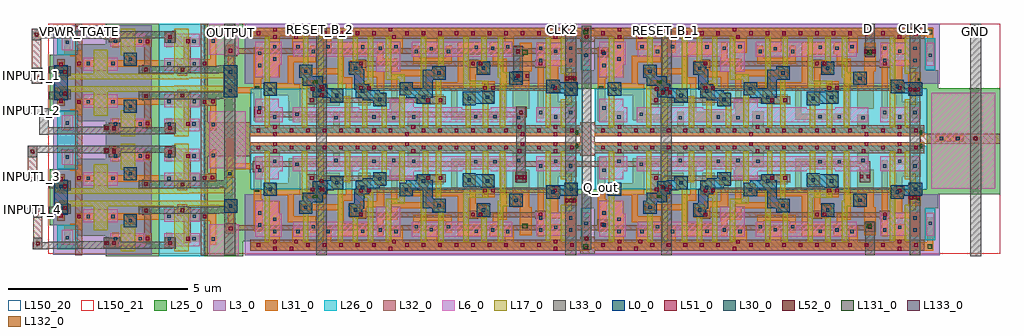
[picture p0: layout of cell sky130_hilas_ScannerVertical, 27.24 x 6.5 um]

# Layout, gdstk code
from math import pi, radians
import gdstk
lib = gdstk.Library(unit=1e-6, precision=1e-09)
def R(c, l, rs):  # rectangles x0, y0, x1, y1
    for r in rs: c.add(gdstk.rectangle(r[:2], r[2:], *l))
def A(c, l, x, y, w, h, nx, ny, dx, dy):  # array of equal rectangles
    R(c, l, [(x+i*dx, y+j*dy, x+i*dx+w, y+j*dy+h) for i in range(nx) for j in range(ny)])
L0_0 = (0, 0)
L3_0 = (3, 0)
L6_0 = (6, 0)
L17_0 = (17, 0)
L25_0 = (25, 0)
L26_0 = (26, 0)
L30_0 = (30, 0)
L31_0 = (31, 0)
L32_0 = (32, 0)
L33_0 = (33, 0)
L51_0 = (51, 0)
L52_0 = (52, 0)
L131_0 = (131, 0)
L132_0 = (132, 0)
L133_0 = (133, 0)
L150_20 = (150, 20)
L150_21 = (150, 21)

sky130_fd_sc_hd__dfrtp_1 = lib.new_cell('sky130_fd_sc_hd__dfrtp_1_fix')
R(sky130_fd_sc_hd__dfrtp_1, L0_0, [(5.405,0.685,5.775,0.855), (2.91,0.715,3.28,0.745), (2.4,0.745,3.28,1.085), (4.185,0.745,4.555,0.915), (6.605,0.795,6.975,0.915), (5.405,0.855,6.07,0.925), (4.11,0.915,4.85,0.985), (6.605,0.915,7.19,0.935), (5.405,0.925,6.255,1.055), (6.605,0.935,7.455,1.165), (0.06,0.975,0.43,1.05), (8.46,0.975,8.83,1.345), (4.11,0.985,5.035,1.185), (0.06,1.05,0.94,1.345), (5.59,1.055,6.255,1.125), (2.4,1.085,2.77,1.115), (5.885,1.125,6.255,1.14), (5.885,1.14,6.305,1.295), (6.87,1.165,7.455,1.185), (4.11,1.185,4.385,1.425), (4.665,1.185,5.035,1.355), (7.085,1.185,7.455,1.255), (7.085,1.255,7.74,1.305), (1.605,1.28,1.975,1.65), (6.03,1.295,6.305,1.555), (7.185,1.305,7.74,1.475), (0.57,1.345,0.94,1.42), (3.755,1.425,4.385,1.695), (7.185,1.475,7.84,1.525), (7.47,1.525,7.84,1.845), (2.51,1.555,2.88,1.925), (6.03,1.555,6.45,1.71), (3.755,1.695,4.125,1.795), (6.08,1.71,6.45,1.925)])
R(sky130_fd_sc_hd__dfrtp_1, L3_0, [(-0.435,1.305,9.365,2.91)])
R(sky130_fd_sc_hd__dfrtp_1, L6_0, [(0.135,0.235,1.225,0.655), (1.565,0.235,8.025,0.595), (8.295,0.235,9.065,0.655), (1.565,0.595,2.49,0.655), (3.285,0.595,5.315,0.655), (6.165,0.595,8.025,0.655), (4.645,0.655,5.315,0.875), (8.405,0.655,9.065,0.885), (8.405,1.485,9.065,1.845), (5.015,1.645,5.695,2.065), (-0.275,1.815,-0.06,2.455), (0.095,1.815,1.225,2.455), (8.325,1.845,9.065,2.485), (1.89,2.065,4.7,2.485), (5.015,2.065,8,2.485)])
R(sky130_fd_sc_hd__dfrtp_1, L17_0, [(0.395,0.095,0.545,0.73), (0.815,0.095,0.965,1.1), (2.09,0.095,2.24,1.3), (2.565,0.095,2.715,0.765), (3.045,0.095,3.195,0.765), (3.875,0.095,4.025,1.445), (4.235,0.095,4.385,0.765), (4.895,0.095,5.045,1.005), (5.39,0.095,5.54,0.705), (5.935,0.095,6.085,0.945), (6.415,0.095,6.565,0.815), (7.16,0.095,7.31,0.955), (7.615,0.095,7.765,1.495), (8.655,0.095,8.805,0.995), (5.39,0.705,5.725,1.035), (0.23,0.73,0.545,0.88), (2.45,0.765,2.72,1.095), (2.93,0.765,3.26,1.035), (4.235,0.765,4.505,1.095), (6.415,0.815,6.925,0.965), (0.23,0.88,0.38,0.995), (5.935,0.945,6.205,1.185), (7.135,0.955,7.405,1.285), (6.62,0.965,6.925,1.145), (0.11,0.995,0.38,1.325), (8.51,0.995,8.805,1.325), (4.715,1.005,5.045,1.335), (2.565,1.095,2.72,1.245), (4.29,1.095,4.44,2.625), (0.59,1.1,0.965,1.37), (6.62,1.145,6.77,2.625), (5.875,1.185,6.205,1.245), (2.565,1.245,3.255,1.395), (5.77,1.245,6.205,1.275), (5.77,1.275,6.085,1.335), (7.16,1.285,7.31,2.625), (1.655,1.3,2.24,1.48), (0.23,1.325,0.38,1.59), (8.655,1.325,8.805,2.625), (4.895,1.335,5.045,1.42), (5.77,1.335,6.02,1.395), (0.815,1.37,0.965,2.595), (3.105,1.395,3.255,2.625), (5.77,1.395,5.92,2.625), (4.895,1.42,5.425,1.57), (3.805,1.445,4.08,1.775), (1.655,1.48,2.3,1.63), (7.52,1.495,7.79,1.825), (5.275,1.57,5.425,2.625), (6.13,1.575,6.4,1.905), (0.23,1.59,0.545,1.74), (2.53,1.605,2.86,1.875), (2.15,1.63,2.3,2.625), (0.395,1.74,0.545,2.595), (3.805,1.775,3.955,2.625), (7.58,1.825,7.73,2.625), (2.61,1.875,2.76,2.625), (6.2,1.905,6.35,2.625)])
R(sky130_fd_sc_hd__dfrtp_1, L25_0, [(-0.395,1.165,0.095,1.69), (-0.035,1.165,1.35,2.775), (1.35,1.165,9.195,2.775), (8.28,1.36,9.195,1.72), (4.89,1.52,5.82,1.94), (8.2,1.72,9.195,1.94)])
R(sky130_fd_sc_hd__dfrtp_1, L26_0, [(-0.07,-0.055,9.195,1.165), (0.095,0.72,2.615,0.78), (3.16,0.72,5.44,0.78), (6.04,0.72,9.19,0.78), (4.52,0.78,5.44,1), (8.28,0.78,9.19,1.01), (-0.305,1.69,-0.035,2.58)])
R(sky130_fd_sc_hd__dfrtp_1, L30_0, [(1.665,0.315,1.755,0.405), (5.155,0.315,5.245,0.405), (6.765,0.315,6.855,0.405), (0.635,0.335,0.725,0.425), (4.595,0.335,4.685,0.425), (5.705,0.335,5.795,0.425), (8.475,0.335,8.565,0.425), (2.33,0.345,2.42,0.435), (2.865,0.345,2.955,0.435), (7.855,0.415,7.945,0.505), (0.215,0.465,0.305,0.555), (1.055,0.465,1.145,0.555), (8.895,0.585,8.985,0.675), (5.545,0.825,5.635,0.915), (3.05,0.855,3.14,0.945), (2.54,0.885,2.63,0.975), (4.325,0.885,4.415,0.975), (6.745,0.935,6.835,1.025), (6.025,1.065,6.115,1.155), (7.225,1.075,7.315,1.165), (0.2,1.115,0.29,1.205), (8.6,1.115,8.69,1.205), (4.805,1.125,4.895,1.215), (0.71,1.19,0.8,1.28), (1.745,1.42,1.835,1.51), (3.895,1.565,3.985,1.655), (7.61,1.615,7.7,1.705), (2.65,1.695,2.74,1.785), (6.22,1.695,6.31,1.785), (8.895,1.775,8.985,1.865), (0.215,1.915,0.305,2.005), (1.055,1.915,1.145,2.005), (8.475,1.955,8.565,2.045), (-0.21,2.06,-0.12,2.15), (8.895,2.115,8.985,2.205), (3.625,2.165,3.715,2.255), (4.53,2.165,4.62,2.255), (7.4,2.165,7.49,2.255), (0.635,2.175,0.725,2.265), (4.11,2.245,4.2,2.335), (0.215,2.255,0.305,2.345), (1.055,2.255,1.145,2.345), (2.39,2.255,2.48,2.345), (5.535,2.255,5.625,2.345), (2.855,2.285,2.945,2.375), (6.02,2.29,6.11,2.38), (1.97,2.295,2.06,2.385), (5.095,2.295,5.185,2.385), (6.98,2.295,7.07,2.385), (7.83,2.295,7.92,2.385), (8.475,2.295,8.565,2.385)])
R(sky130_fd_sc_hd__dfrtp_1, L31_0, [(0,-0.15,9.2,0.085), (0.515,0.085,0.845,0.465), (1.545,0.085,1.875,0.445), (4.475,0.085,4.805,0.545), (6.705,0.085,6.895,0.525), (8.38,0.085,8.685,0.545), (5.585,0.255,6.535,0.535), (8.855,0.265,9.11,0.795), (5.015,0.275,5.365,0.445), (7.065,0.295,8.135,0.465), (2.045,0.305,2.54,0.475), (2.745,0.305,3.6,0.475), (0.09,0.345,0.345,0.635), (1.015,0.345,1.185,2.465), (5.015,0.445,5.275,0.835), (7.065,0.465,7.235,0.695), (7.815,0.465,8.135,0.82), (2.045,0.475,2.215,1.835), (3.43,0.475,3.6,1.185), (6.365,0.535,6.535,1.315), (1.415,0.615,1.875,1.665), (0.09,0.635,0.84,0.805), (7.405,0.635,7.645,1.035), (6.705,0.695,7.235,0.865), (5.465,0.705,5.675,1.495), (5.845,0.705,6.195,1.325), (2.385,0.765,2.735,1.385), (2.905,0.765,3.26,0.985), (3.805,0.765,4.595,1.015), (8.9,0.795,9.11,1.445), (0.61,0.805,0.84,1.795), (7.815,0.82,8.14,0.995), (5.105,0.835,5.275,1.525), (6.705,0.865,6.925,1.145), (0.09,0.975,0.44,1.625), (2.905,0.985,3.075,1.575), (7.815,0.995,8.73,1.295), (4.765,1.005,4.935,1.185), (7.105,1.035,7.645,1.405), (3.245,1.185,4.935,1.355), (7.99,1.295,8.73,1.325), (6.365,1.315,6.77,1.485), (7.99,1.325,8.16,1.915), (3.245,1.355,3.415,2.135), (8.855,1.445,9.11,2.325), (6.6,1.485,6.77,1.575), (5.465,1.495,6.14,1.655), (8.38,1.495,8.685,2.635), (3.775,1.525,5.275,1.695), (2.61,1.575,3.075,1.965), (6.6,1.575,7.82,1.745), (5.465,1.655,6.43,1.665), (1.355,1.665,1.68,2.45), (5.97,1.665,6.43,1.955), (5.105,1.695,5.275,1.835), (6.6,1.745,6.77,2.125), (0.09,1.795,0.84,1.965), (2.045,1.835,2.44,2.005), (5.105,1.835,5.665,2.005), (3.585,1.865,4.66,2.035), (7.36,1.915,8.16,2.085), (-0.25,1.94,-0.08,2.635), (0.09,1.965,0.345,2.465), (2.27,2.005,2.44,2.135), (5.495,2.005,5.665,2.465), (3.585,2.035,3.755,2.375), (4.49,2.035,4.66,2.375), (7.36,2.085,7.53,2.375), (5.9,2.125,6.77,2.465), (0.515,2.135,0.845,2.635), (2.27,2.135,2.52,2.465), (2.735,2.135,3.415,2.465), (1.85,2.175,2.1,2.635), (4.955,2.175,5.325,2.635), (6.94,2.175,7.19,2.635), (3.99,2.205,4.32,2.635), (7.71,2.255,8.04,2.635), (-0.25,2.635,9.2,2.87)])
R(sky130_fd_sc_hd__dfrtp_1, L32_0, [(0,-0.15,9.2,0.15), (3.745,0.735,4.395,0.78), (7.345,0.735,7.635,0.78), (3.745,0.78,7.635,0.92), (3.745,0.92,4.395,0.965), (7.045,0.92,7.635,0.965), (7.045,0.965,7.635,1.28), (0.55,1.075,0.84,1.12), (2.385,1.075,2.675,1.12), (5.965,1.075,6.255,1.12), (0.55,1.12,6.255,1.26), (0.55,1.26,0.84,1.305), (2.385,1.26,2.675,1.305), (5.965,1.26,6.255,1.305), (0.955,1.755,1.245,1.8), (2.845,1.755,3.135,1.8), (5.965,1.755,6.255,1.8), (0.955,1.8,6.255,1.94), (0.955,1.94,1.245,1.985), (2.845,1.94,3.135,1.985), (5.965,1.94,6.255,1.985), (0,2.57,9.2,2.87)])
A(sky130_fd_sc_hd__dfrtp_1, L51_0, 0.18, -0.05, 0.1, 0.1, 3, 1, 0.92, 0)
A(sky130_fd_sc_hd__dfrtp_1, L51_0, 2.48, -0.05, 0.1, 0.1, 5, 1, 0.46, 0)
A(sky130_fd_sc_hd__dfrtp_1, L51_0, 5.24, -0.05, 0.1, 0.1, 7, 1, 0.46, 0)
A(sky130_fd_sc_hd__dfrtp_1, L51_0, 1.1, 2.67, 0.1, 0.1, 9, 1, 0.46, 0)
A(sky130_fd_sc_hd__dfrtp_1, L51_0, 5.7, 2.67, 0.1, 0.1, 5, 1, 0.46, 0)
R(sky130_fd_sc_hd__dfrtp_1, L51_0, [(0.64,-0.15,0.74,-0.05), (1.56,-0.15,1.66,-0.05), (4.78,-0.15,4.88,-0.05), (8.46,-0.15,8.56,-0.05), (8.92,-0.05,9.02,0.05), (0.64,0.05,0.74,0.15), (1.645,0.05,1.745,0.15), (4.605,0.05,4.705,0.15), (8.46,0.05,8.56,0.15), (3.84,0.8,3.94,0.9), (4.2,0.8,4.3,0.9), (7.44,0.8,7.54,0.9), (7.14,1.115,7.24,1.215), (7.415,1.115,7.515,1.215), (0.645,1.14,0.745,1.24), (2.385,1.14,2.485,1.24), (2.6,1.14,2.7,1.24), (5.845,1.14,5.945,1.24), (6.06,1.14,6.16,1.24), (1.05,1.82,1.15,1.92), (2.73,1.82,2.83,1.92), (2.94,1.82,3.04,1.92), (6.06,1.82,6.16,1.92), (0.64,2.57,0.74,2.67), (5.145,2.57,5.245,2.67), (7.875,2.57,7.975,2.67), (8.46,2.57,8.56,2.67), (0.18,2.67,0.28,2.77), (8.92,2.67,9.02,2.77), (0.64,2.77,0.74,2.87), (5.24,2.77,5.34,2.87), (8,2.77,8.1,2.87), (8.46,2.77,8.56,2.87)])
R(sky130_fd_sc_hd__dfrtp_1, L131_0, [(0.055,-0.11,0.12,0.01), (8.955,1.185,9.085,1.235), (7.325,1.33,7.465,1.39), (0.145,1.4,0.175,1.465), (1.46,2.125,1.61,2.255), (-0.225,2.695,-0.095,2.815)])
sky130_fd_sc_hd__dfrtp_1.add(gdstk.Label('VPWR', (-0.18,2.76), layer=131, texttype=0))
sky130_fd_sc_hd__dfrtp_1.add(gdstk.Label('D', (1.54,2.18), layer=131, texttype=0))
sky130_fd_sc_hd__dfrtp_1.add(gdstk.Label('Q', (9.01,1.21), layer=131, texttype=0))
sky130_fd_sc_hd__dfrtp_1.add(gdstk.Label('CLK_IN', (0.155,1.44), layer=131, texttype=0))
sky130_fd_sc_hd__dfrtp_1.add(gdstk.Label('VSUBS', (0.09,-0.04), layer=131, texttype=0))
sky130_fd_sc_hd__dfrtp_1.add(gdstk.Label('RESET_B', (7.39,1.35), layer=131, texttype=0))

sky130_hilas_poly2m1 = lib.new_cell('sky130_hilas_poly2m1')
R(sky130_hilas_poly2m1, L0_0, [(-0.11,-0.1,0.26,0.27)])
R(sky130_hilas_poly2m1, L17_0, [(-0.09,-0.08,0.24,0.25)])
R(sky130_hilas_poly2m1, L30_0, [(0.03,0.04,0.12,0.13)])
R(sky130_hilas_poly2m1, L31_0, [(-0.03,-0.18,0.18,0.25), (-0.01,-0.18,0.16,-0.165)])
R(sky130_hilas_poly2m1, L32_0, [(-0.03,-0.26,0.18,0.03), (-0.03,0.03,0.18,0.25)])
R(sky130_hilas_poly2m1, L51_0, [(0.025,-0.165,0.125,-0.065)])

m2_m1_cdns_668663135844 = lib.new_cell('M2_M1_CDNS_668663135844')
R(m2_m1_cdns_668663135844, L31_0, [(-0.09,-0.09,0.09,0.09)])
R(m2_m1_cdns_668663135844, L32_0, [(-0.115,-0.115,0.115,0.115)])
R(m2_m1_cdns_668663135844, L51_0, [(-0.05,-0.05,0.05,0.05)])

m3_m2_cdns_668663135845 = lib.new_cell('M3_M2_CDNS_668663135845')
R(m3_m2_cdns_668663135845, L32_0, [(-0.115,-0.115,0.115,0.115)])
R(m3_m2_cdns_668663135845, L33_0, [(-0.09,-0.09,0.09,0.09)])
R(m3_m2_cdns_668663135845, L52_0, [(-0.05,-0.05,0.05,0.05)])

sky130_hilas_li2m2 = lib.new_cell('sky130_hilas_li2m2')
R(sky130_hilas_li2m2, L32_0, [(-0.11,-0.125,0.19,0.175)])
R(sky130_hilas_li2m2, L33_0, [(-0.11,-0.125,0.19,0.175)])
sky130_hilas_li2m2.add(gdstk.Reference(m2_m1_cdns_668663135844, (0.04,0.02)))
sky130_hilas_li2m2.add(gdstk.Reference(m3_m2_cdns_668663135845, (0.04,0.02)))

m2_m1_cdns_668663135843 = lib.new_cell('M2_M1_CDNS_668663135843')
R(m2_m1_cdns_668663135843, L31_0, [(-0.045,-0.025,0.075,0.155)])
R(m2_m1_cdns_668663135843, L32_0, [(-0.065,-0.045,0.095,0.175)])
R(m2_m1_cdns_668663135843, L51_0, [(-0.035,0.015,0.065,0.115)])

m3_m2_cdns_668663135842 = lib.new_cell('M3_M2_CDNS_668663135842')
R(m3_m2_cdns_668663135842, L32_0, [(-0.035,-0.075,0.175,0.195)])
R(m3_m2_cdns_668663135842, L33_0, [(-0.065,-0.045,0.205,0.165)])
R(m3_m2_cdns_668663135842, L52_0, [(0.02,0.01,0.12,0.11)])

sky130_hilas_tgatesingle = lib.new_cell('sky130_hilas_TgateSingle01Part2')
R(sky130_hilas_tgatesingle, L3_0, [(-0.67,-1.81,0.96,-0.97), (-0.18,-0.97,0.96,-0.38)])
R(sky130_hilas_tgatesingle, L6_0, [(-0.2,-1.62,0.78,-1.26)])
R(sky130_hilas_tgatesingle, L17_0, [(0.09,-1.76,0.49,-1.03)])
R(sky130_hilas_tgatesingle, L25_0, [(-0.325,-1.745,0.905,-1.135)])
R(sky130_hilas_tgatesingle, L30_0, [(-0.1,-1.46,-0.01,-1.37), (0.59,-1.46,0.68,-1.37)])
R(sky130_hilas_tgatesingle, L31_0, [(-0.14,-1.55,0.03,-1.25), (0.47,-1.5,0.85,-1.33), (0.72,-1.33,0.85,-1.32), (-0.18,-0.88,0.96,-0.7)])
R(sky130_hilas_tgatesingle, L32_0, [(0.72,-1.55,0.95,-1.26), (0.74,-1.26,0.93,-0.67)])
R(sky130_hilas_tgatesingle, L33_0, [(-0.67,-1.7,0.96,-1.5), (-0.67,-1.5,-0.45,-1.49), (0.59,-0.72,0.96,-0.52)])
sky130_hilas_tgatesingle.add(gdstk.Reference(sky130_hilas_li2m2, (-0.14,-1.56)))
sky130_hilas_tgatesingle.add(gdstk.Reference(m2_m1_cdns_668663135843, (0.82,-1.47)))
sky130_hilas_tgatesingle.add(gdstk.Reference(m3_m2_cdns_668663135842, (0.73,-0.69)))

c_sky130_hilas_tgatesingle = lib.new_cell('sky130_hilas_TgateSingle01Part1')
R(c_sky130_hilas_tgatesingle, L6_0, [(4.17,-1.63,4.4,-1.22), (2.91,-1.62,3.9,-1.26), (2.91,-0.94,3.91,-0.59)])
R(c_sky130_hilas_tgatesingle, L17_0, [(3.2,-1.76,3.6,-0.51), (2.57,-0.51,3.6,-0.36)])
R(c_sky130_hilas_tgatesingle, L25_0, [(4.045,-1.755,4.525,-1.095)])
R(c_sky130_hilas_tgatesingle, L26_0, [(2.78,-1.745,4.03,-1.065), (2.78,-1.065,4.04,-0.465)])
R(c_sky130_hilas_tgatesingle, L30_0, [(4.24,-1.47,4.33,-1.38), (3.01,-1.46,3.1,-1.37), (3.7,-1.46,3.79,-1.37), (3,-0.83,3.09,-0.74), (3.71,-0.83,3.8,-0.74)])
R(c_sky130_hilas_tgatesingle, L31_0, [(4.2,-1.59,4.37,-0.91), (2.97,-1.55,3.14,-1.25), (3.63,-1.5,3.92,-1.33), (4.12,-0.91,4.37,-0.71), (2.57,-0.88,3.21,-0.7), (3.59,-0.87,3.94,-0.7)])
R(c_sky130_hilas_tgatesingle, L32_0, [(3.94,-1.81,4.13,-0.29), (3.46,-1.28,3.65,-0.78), (3.28,-0.78,3.65,-0.53), (3.28,-0.53,3.55,-0.46)])
R(c_sky130_hilas_tgatesingle, L33_0, [(2.57,-1.7,3.14,-1.5), (2.57,-0.72,4.45,-0.52)])
c_sky130_hilas_tgatesingle.add(gdstk.Reference(sky130_hilas_li2m2, (3.04,-1.55)))
c_sky130_hilas_tgatesingle.add(gdstk.Reference(m2_m1_cdns_668663135843, (4.02,-0.86)))
c_sky130_hilas_tgatesingle.add(gdstk.Reference(m2_m1_cdns_668663135843, (3.56,-1.48)))
c_sky130_hilas_tgatesingle.add(gdstk.Reference(m3_m2_cdns_668663135842, (3.35,-0.68)))

c_sky130_hilas_tgatesingle_ = lib.new_cell('sky130_hilas_TgateSingle01')
R(c_sky130_hilas_tgatesingle_, L0_0, [(-0.54,-1.1,-0.17,-0.73)])
R(c_sky130_hilas_tgatesingle_, L3_0, [(-2.51,-1.86,0.25,-1.81), (-2.51,-1.81,-0.53,-1.19), (-2.51,-1.19,-0.52,-1.02), (-2.51,-1.02,0.25,-0.25)])
R(c_sky130_hilas_tgatesingle_, L6_0, [(-2.27,-1.59,-1.95,-1.17), (-1.67,-0.96,-0.7,-0.59)])
R(c_sky130_hilas_tgatesingle_, L17_0, [(-1.38,-1.18,-0.98,-0.51), (-0.52,-1.12,-0.19,-0.77), (-2.34,-0.51,0.25,-0.36)])
R(c_sky130_hilas_tgatesingle_, L25_0, [(-1.04,-1.91,-1.035,-1.085), (-1.035,-1.91,0.195,-1.745), (0.195,-1.91,0.46,-0.21), (-1.825,-1.33,0.195,-0.21), (-1.035,-1.135,-0.575,-1.085), (-2.6,-1.045,-1.825,-0.21)])
R(c_sky130_hilas_tgatesingle_, L26_0, [(0.46,-1.91,1.71,-1.745), (-2.395,-1.715,-1.825,-1.045), (0.46,-0.465,1.715,-0.21)])
R(c_sky130_hilas_tgatesingle_, L30_0, [(-2.16,-1.43,-2.07,-1.34), (-0.4,-0.96,-0.31,-0.87), (-1.57,-0.84,-1.48,-0.75), (-0.88,-0.84,-0.79,-0.75)])
R(c_sky130_hilas_tgatesingle_, L31_0, [(-0.74,-1.645,-0.68,-1.55), (-2.2,-1.58,-2.03,-1.3), (0.14,-1.5,0.185,-1.495), (-0.24,-1.33,0.065,-1.315), (-2.2,-1.3,-2.03,-1.26), (-2.2,-1.26,-2.03,-1.24), (-2.2,-1.24,-2.03,-1.22), (-2.2,-1.22,-2.03,-1.17), (-2.2,-1.17,-1.69,-1.11), (-2.2,-1.11,-1.69,-1.08), (-2.2,-1.08,-1.69,-1.05), (-2.03,-1.05,-1.69,-1), (-1.88,-1,-1.69,-0.99), (-0.52,-1,-0.19,-0.88), (-1.88,-0.99,-1.69,-0.96), (-1.88,-0.96,-1.69,-0.88), (1.27,-0.91,1.775,-0.87), (1.775,-0.91,1.8,-0.705), (1.62,-0.885,1.655,-0.7), (-1.88,-0.88,-1.36,-0.83), (-1.01,-0.88,0.25,-0.7), (-1.725,-0.83,-1.36,-0.705), (1.655,-0.71,2.05,-0.7)])
R(c_sky130_hilas_tgatesingle_, L32_0, [(-1.89,-1.86,-1.69,-0.25), (1.62,-1.86,1.81,-1.81), (1.14,-1.525,1.175,-1.305), (1.14,-1.305,1.335,-1.28), (1.33,-1.28,1.335,-0.53), (1.62,-0.29,1.81,-0.25)])
R(c_sky130_hilas_tgatesingle_, L33_0, [(-2.63,-1.7,-0.64,-1.5), (0.82,-1.7,0.89,-1.69), (-1.76,-1.5,-0.64,-1.49), (-0.68,-1.49,-0.64,-1.4), (-0.12,-0.735,-0.045,-0.72), (-2.63,-0.72,-2.02,-0.52), (2.06,-0.72,2.13,-0.52), (-2.045,-0.52,-2.02,-0.455)])
R(c_sky130_hilas_tgatesingle_, L51_0, [(-2.335,-0.815,-2.235,-0.715)])
c_sky130_hilas_tgatesingle_.add(gdstk.Reference(sky130_hilas_poly2m1, (-2.36,-0.65)))
c_sky130_hilas_tgatesingle_.add(gdstk.Reference(sky130_hilas_tgatesingle, (-0.71,0)))
c_sky130_hilas_tgatesingle_.add(gdstk.Reference(c_sky130_hilas_tgatesingle, (-2.32,0)))
c_sky130_hilas_tgatesingle_.add(gdstk.Reference(m3_m2_cdns_668663135842, (-2.25,-0.62)))
c_sky130_hilas_tgatesingle_.add(gdstk.Reference(m2_m1_cdns_668663135843, (-1.8,-0.86)))

sky130_hilas_tgate4singl = lib.new_cell('sky130_hilas_Tgate4Single01')
R(sky130_hilas_tgate4singl, L0_0, [(0.16,1.53,0.53,1.78), (0.16,4.73,0.53,4.98)])
R(sky130_hilas_tgate4singl, L3_0, [(0.12,5.54,0.13,5.92)])
R(sky130_hilas_tgate4singl, L25_0, [(1.595,3.145,2.825,3.365), (4.355,3.155,4.835,3.355)])
R(sky130_hilas_tgate4singl, L26_0, [(0.235,3.115,0.805,3.395), (3.095,3.145,4.335,3.365)])
R(sky130_hilas_tgate4singl, L32_0, [(0.74,0.28,0.94,0.32), (4.25,0.28,4.44,0.34), (4.25,6.27,4.44,6.33), (0.74,6.29,0.94,6.33)])
R(sky130_hilas_tgate4singl, L33_0, [(0,0.21,0.05,0.41), (0,1.19,0.06,1.39), (4.69,1.19,4.76,1.39), (0,1.91,0.06,2.11), (4.69,1.92,4.76,2.12), (0,2.89,0.05,3.09), (0,3.41,0.05,3.61), (0,4.39,0.06,4.59), (4.69,4.39,4.76,4.59), (0,5.11,0.06,5.31), (4.69,5.12,4.76,5.32), (0,6.09,0.05,6.29)])
sky130_hilas_tgate4singl.add(gdstk.Reference(c_sky130_hilas_tgatesingle_, (2.63,1.91)))
sky130_hilas_tgate4singl.add(gdstk.Reference(c_sky130_hilas_tgatesingle_, (2.63,1.39), x_reflection=True))
sky130_hilas_tgate4singl.add(gdstk.Reference(c_sky130_hilas_tgatesingle_, (2.63,4.59), x_reflection=True))
sky130_hilas_tgate4singl.add(gdstk.Reference(c_sky130_hilas_tgatesingle_, (2.63,5.11)))

m3_m2_cdns_668663135840 = lib.new_cell('M3_M2_CDNS_668663135840')
R(m3_m2_cdns_668663135840, L32_0, [(-0.09,-0.19,0.09,0.19)])
R(m3_m2_cdns_668663135840, L33_0, [(-0.09,-0.19,0.09,0.19)])
R(m3_m2_cdns_668663135840, L52_0, [(-0.05,-0.15,0.05,-0.05), (-0.05,0.05,0.05,0.15)])

m3_m2_cdns_668663135841 = lib.new_cell('M3_M2_CDNS_668663135841')
R(m3_m2_cdns_668663135841, L32_0, [(-0.19,-0.09,0.19,0.09)])
R(m3_m2_cdns_668663135841, L33_0, [(-0.19,-0.09,0.19,0.09)])
R(m3_m2_cdns_668663135841, L52_0, [(-0.15,-0.05,-0.05,0.05), (0.05,-0.05,0.15,0.05)])

sky130_hilas_scannervert = lib.new_cell('sky130_hilas_ScannerVertical')
R(sky130_hilas_scannervert, L0_0, [(5.585,1.225,5.955,1.595), (5.575,4.44,5.945,4.81), (5.58,4.81,5.945,4.965), (5.58,4.965,5.95,5.335)])
R(sky130_hilas_scannervert, L3_0, [(6.155,0.04,25.56,0.125), (15.71,0.125,15.735,1.73), (25.28,0.125,25.56,0.15), (15.71,4.815,15.735,6.42), (25.31,6.4,25.56,6.42), (6.155,6.42,25.56,6.5)])
R(sky130_hilas_scannervert, L6_0, [(5.17,0.04,5.995,0.905), (25.32,1.89,27.11,4.565), (5.17,2.465,6.185,4.055), (5.17,5.625,5.995,6.5)])
R(sky130_hilas_scannervert, L17_0, [(5.605,1.255,5.935,1.41), (4.2,1.41,5.935,1.56), (4.21,1.77,5.815,1.92), (5.655,1.92,5.815,2.41), (5.595,4.46,5.925,4.61), (4.2,4.61,5.925,4.76), (4.32,4.975,5.93,5.125), (5.595,5.125,5.93,5.285)])
R(sky130_hilas_scannervert, L25_0, [(5.045,0,6.125,0.425), (15.915,0.26,15.935,1.675), (5.04,0.425,6.325,2.34), (15.915,1.675,15.93,1.87), (25.195,1.735,27.24,4.69), (5.045,2.34,6.31,4.18), (5.04,4.18,6.325,6.12), (15.915,4.675,15.93,4.87), (15.915,4.87,15.935,6.285), (5.045,6.12,6.12,6.5)])
R(sky130_hilas_scannervert, L26_0, [(5.025,0.01,5.03,0.175), (5.035,1.455,5.04,1.875), (5.035,4.655,5.04,5.075)])
R(sky130_hilas_scannervert, L30_0, [(5.725,1.365,5.815,1.455), (5.7,2.26,5.79,2.35), (25.56,3.25,25.65,3.34), (26.015,3.25,26.105,3.34), (5.715,4.58,5.805,4.67), (5.72,5.105,5.81,5.195)])
R(sky130_hilas_scannervert, L31_0, [(15.765,0.23,15.93,0.4), (2.42,0.275,2.58,0.29), (3.97,0.3,3.99,0.37), (5.685,0.695,5.855,1.575), (16.065,0.805,16.235,0.975), (15.18,1.475,15.35,1.645), (24.79,1.56,24.96,1.73), (13.79,2.125,13.96,2.295), (23.39,2.15,23.56,2.32), (5.665,2.195,5.89,2.45), (6.445,2.415,6.615,2.585), (5.665,2.435,6.43,2.605), (5.665,2.605,5.835,3.28), (3.97,2.96,3.99,3.03), (2.42,3.04,2.58,3.055), (25.44,3.21,26.225,3.38), (2.42,3.475,2.58,3.49), (3.97,3.5,3.99,3.57), (6.475,3.95,6.645,4.12), (5.675,4.46,5.925,4.54), (5.675,4.54,5.925,4.555), (5.675,4.555,6.445,4.725), (24.785,4.57,24.955,4.74), (5.675,4.725,5.845,4.805), (15.17,4.88,15.34,5.05), (13.7,4.95,13.87,5.12), (5.68,4.985,5.85,5.91), (16.07,5.62,16.24,5.79), (23.52,5.63,23.69,5.8), (15.515,6.145,15.985,6.315), (3.97,6.16,3.99,6.23), (2.42,6.24,2.58,6.255)])
R(sky130_hilas_scannervert, L32_0, [(1.43,0.04,1.63,0.06), (4.94,0.04,5.13,0.06), (15.52,0.075,15.925,0.555), (0.255,0.205,0.515,1.375), (2.22,0.235,2.36,0.29), (2.22,0.47,2.36,0.535), (5.63,0.635,5.92,0.725), (23.45,0.695,23.77,0.725), (5.63,0.725,23.77,0.875), (5.63,0.875,5.92,0.925), (16.005,0.875,16.295,1.04), (23.45,0.875,23.77,0.955), (15.11,1.415,15.41,1.42), (15.11,1.42,15.41,1.435), (15.11,1.435,15.41,1.575), (24.7,1.485,25,1.805), (15.11,1.575,15.41,1.72), (15.11,1.72,15.41,1.725), (8.14,1.755,8.2,1.835), (17.79,1.805,18.05,2.065), (8.14,1.835,8.43,2.07), (13.715,2.065,14.035,2.085), (8.17,2.07,8.43,2.095), (23.325,2.07,23.625,2.505), (13.715,2.085,14.035,2.345), (0.105,2.105,0.365,3.09), (4.94,2.11,5.37,2.32), (13.715,2.345,14.035,2.365), (6.385,2.355,6.685,2.505), (6.385,2.505,23.62,2.655), (5.13,2.795,6.32,3.75), (15.52,2.815,15.93,3.275), (25.02,3.15,27.24,3.43), (15.52,3.275,15.93,3.75), (6.43,3.89,14.035,4.04), (6.43,4.04,6.72,4.18), (13.73,4.04,14.035,4.18), (4.94,4.21,5.37,4.42), (17.795,4.45,18.055,4.71), (8.17,4.46,8.43,4.465), (8.105,4.465,8.43,4.72), (24.695,4.485,24.995,4.805), (8.105,4.72,8.185,4.79), (15.11,4.815,15.41,5.135), (0.22,4.82,0.48,6.355), (13.63,4.91,14.105,5.17), (16.01,5.555,16.3,5.655), (5.62,5.59,5.955,5.655), (13.63,5.59,13.95,5.655), (23.45,5.59,23.77,5.85), (5.62,5.655,16.3,5.805), (5.62,5.805,5.955,5.88), (13.63,5.805,13.95,5.85), (16.01,5.805,16.3,5.845), (15.52,5.99,15.93,6.38), (15.52,6.2,15.935,6.38), (1.43,6.395,1.63,6.5), (4.94,6.45,5.13,6.5), (1.43,6.47,1.63,6.5)])
R(sky130_hilas_scannervert, L33_0, [(26.41,0,26.71,6.5), (5.59,0.04,5.89,1.2), (8.15,0.04,8.45,6.5), (15.11,0.04,15.41,6.5), (17.78,0.04,18.08,1.765), (23.48,0.04,23.74,0.985), (24.72,0.04,25.02,6.5), (15.57,0.18,15.83,6.44), (0.24,0.2,0.69,0.4), (4.21,0.22,4.23,0.245), (4.14,0.23,4.21,0.245), (2.22,0.235,2.36,0.29), (0.255,0.4,0.515,0.525), (2.22,0.47,2.36,0.535), (2.66,0.52,2.68,0.535), (0.255,1.075,0.515,1.205), (5.45,1.2,5.89,1.4), (0,1.205,0.16,1.365), (0,1.205,0.515,1.365), (0.255,1.345,0.515,1.375), (5.59,1.4,5.89,1.93), (17.77,1.765,18.08,4.78), (5.45,1.93,5.89,2.13), (13.745,2.055,14.005,4.18), (0.105,2.105,0.365,2.14), (5.59,2.13,5.89,4.4), (0,2.14,0.155,2.3), (0,2.14,0.365,2.3), (0.105,2.28,0.365,2.405), (0.105,2.77,0.365,2.89), (2.66,2.795,2.68,2.81), (0.105,2.89,0.69,3.09), (4.14,3.085,4.21,3.1), (4.21,3.085,4.23,3.11), (0.43,3.4,0.69,3.98), (4.21,3.42,4.23,3.445), (4.14,3.43,4.145,3.445), (4.145,3.43,4.21,3.445), (2.66,3.72,2.68,3.735), (0,3.98,0.19,4.14), (0,3.98,0.69,4.14), (5.45,4.4,5.89,4.6), (5.59,4.6,5.89,5.13), (17.78,4.78,18.08,6.5), (0.22,4.82,0.51,4.905), (13.66,4.875,13.92,5.88), (0,4.905,0.165,5.065), (0,4.905,0.51,5.065), (0.22,5.045,0.51,5.14), (5.45,5.13,5.89,5.33), (0.22,5.14,0.51,5.265), (0.22,5.265,0.26,5.27), (0.44,5.265,0.51,5.27), (5.59,5.33,5.89,6.5), (23.48,5.56,23.74,6.5), (2.66,5.995,2.68,6.01), (0.22,6.035,0.48,6.09), (0.22,6.09,0.69,6.29), (4.14,6.285,4.21,6.3), (4.21,6.285,4.23,6.31), (0.22,6.29,0.48,6.355), (5.59,6.29,5.89,6.5)])
R(sky130_hilas_scannervert, L51_0, [(5.72,0.73,5.82,0.83), (16.1,0.84,16.2,0.94), (15.11,1.51,15.21,1.61), (15.31,1.51,15.41,1.61), (24.7,1.595,24.8,1.695), (24.9,1.595,25,1.695), (5.215,2.155,5.315,2.255), (13.715,2.16,13.815,2.26), (13.935,2.16,14.035,2.26), (23.325,2.185,23.425,2.285), (23.525,2.185,23.625,2.285), (6.485,2.45,6.585,2.55), (25.555,3.245,25.655,3.345), (26.01,3.245,26.11,3.345), (6.51,3.985,6.61,4.085), (5.23,4.275,5.33,4.375), (24.695,4.605,24.795,4.705), (24.895,4.605,24.995,4.705), (15.11,4.915,15.21,5.015), (15.31,4.915,15.41,5.015), (13.735,4.985,13.835,5.085), (14.005,4.985,14.105,5.085), (16.105,5.655,16.205,5.755), (23.45,5.665,23.55,5.765), (23.67,5.665,23.77,5.765), (5.715,5.69,5.815,5.79)])
R(sky130_hilas_scannervert, L52_0, [(15.65,0.185,15.75,0.285), (0.335,0.315,0.435,0.415), (15.65,0.455,15.75,0.555), (23.56,0.775,23.66,0.875), (0.335,1.165,0.435,1.265), (15.21,1.515,15.31,1.615), (24.82,1.595,24.92,1.695), (8.25,1.82,8.35,1.92), (17.77,1.885,17.87,1.985), (17.98,1.885,18.08,1.985), (8.25,2.055,8.35,2.155), (13.825,2.16,13.925,2.26), (0.185,2.195,0.285,2.295), (0.185,2.88,0.285,2.98), (26.51,3.24,26.61,3.34), (13.825,3.97,13.925,4.07), (8.25,4.455,8.35,4.555), (17.77,4.53,17.87,4.63), (17.98,4.53,18.08,4.63), (24.815,4.595,24.915,4.695), (8.25,4.68,8.35,4.78), (15.21,4.925,15.31,5.025), (0.3,4.95,0.4,5.05), (13.74,4.99,13.84,5.09), (13.74,5.67,13.84,5.77), (23.56,5.67,23.66,5.77), (15.65,6.08,15.75,6.18), (0.3,6.145,0.4,6.245), (15.65,6.28,15.75,6.38)])
R(sky130_hilas_scannervert, L131_0, [(16.065,1.89,16.18,1.945)])
R(sky130_hilas_scannervert, L132_0, [(15.855,6.34,15.895,6.36), (1.465,6.41,1.595,6.435)])
R(sky130_hilas_scannervert, L133_0, [(0.055,1.245,0.12,1.345), (0.035,2.17,0.07,2.275), (0.06,4,0.155,4.085), (0.015,4.935,0.06,5.035), (26.495,6.24,26.67,6.33), (17.78,6.39,18.08,6.42), (5.66,6.405,5.82,6.44), (8.15,6.405,8.45,6.45), (26.48,6.42,26.63,6.45), (24.795,6.43,24.98,6.45), (15.215,6.435,15.31,6.46), (23.535,6.44,23.69,6.45)])
R(sky130_hilas_scannervert, L150_20, [(0.67,0.08,27.24,6.5)])
R(sky130_hilas_scannervert, L150_21, [(0.67,0.08,27.24,6.5)])
sky130_hilas_scannervert.add(gdstk.Reference(sky130_fd_sc_hd__dfrtp_1, (15.52,3.035), rotation=pi))
sky130_hilas_scannervert.add(gdstk.Reference(sky130_fd_sc_hd__dfrtp_1, (15.52,3.51), rotation=pi, x_reflection=True))
sky130_hilas_scannervert.add(gdstk.Reference(sky130_fd_sc_hd__dfrtp_1, (25.125,3.51), rotation=pi, x_reflection=True))
sky130_hilas_scannervert.add(gdstk.Reference(sky130_fd_sc_hd__dfrtp_1, (25.125,3.035), rotation=pi))
sky130_hilas_scannervert.add(gdstk.Reference(sky130_hilas_tgate4singl, (0.69,0)))
sky130_hilas_scannervert.add(gdstk.Reference(m3_m2_cdns_668663135840, (0.35,5.08)))
sky130_hilas_scannervert.add(gdstk.Reference(m3_m2_cdns_668663135841, (2.41,6.15)))
sky130_hilas_scannervert.add(gdstk.Reference(m3_m2_cdns_668663135841, (2.41,3.58)))
sky130_hilas_scannervert.add(gdstk.Reference(m3_m2_cdns_668663135841, (2.41,2.95)))
sky130_hilas_scannervert.add(gdstk.Reference(m3_m2_cdns_668663135841, (2.41,0.38)))
sky130_hilas_scannervert.add(gdstk.Label('INPUT1_4', (0.235,1.305), layer=127, texttype=0))
sky130_hilas_scannervert.add(gdstk.Label('INPUT1_3', (0.21,2.245), layer=127, texttype=0))
sky130_hilas_scannervert.add(gdstk.Label('INPUT1_2', (0.2,4.08), layer=127, texttype=0))
sky130_hilas_scannervert.add(gdstk.Label('INPUT1_1', (0.185,5.04), layer=127, texttype=0))
sky130_hilas_scannervert.add(gdstk.Label('RESET_B_2', (8.27,6.345), layer=127, texttype=0))
sky130_hilas_scannervert.add(gdstk.Label('CLK2', (15.02,6.335), layer=127, texttype=0))
sky130_hilas_scannervert.add(gdstk.Label('CLK1', (24.85,6.375), layer=127, texttype=0))
sky130_hilas_scannervert.add(gdstk.Label('D', (23.58,6.36), layer=127, texttype=0))
sky130_hilas_scannervert.add(gdstk.Label('RESET_B_1', (17.94,6.295), layer=127, texttype=0))
sky130_hilas_scannervert.add(gdstk.Label('VPWR_TGATE', (1.54,6.265), layer=127, texttype=0))
sky130_hilas_scannervert.add(gdstk.Label('VPWR_DFF', (15.71,6.07), layer=127, texttype=0))
sky130_hilas_scannervert.add(gdstk.Label('OUTPUT', (5.75,6.25), layer=127, texttype=0))
sky130_hilas_scannervert.add(gdstk.Label('CLK2', (15.27,6.43), layer=133, texttype=0))
sky130_hilas_scannervert.add(gdstk.Label('INPUT1_4', (0.095,1.27), layer=133, texttype=0))
sky130_hilas_scannervert.add(gdstk.Label('INPUT1_3', (0.055,2.205), layer=133, texttype=0))
sky130_hilas_scannervert.add(gdstk.Label('INPUT1_2', (0.115,4.02), layer=133, texttype=0))
sky130_hilas_scannervert.add(gdstk.Label('INPUT1_1', (0.045,4.96), layer=133, texttype=0))
sky130_hilas_scannervert.add(gdstk.Label('OUTPUT', (5.74,6.425), layer=133, texttype=0))
sky130_hilas_scannervert.add(gdstk.Label('RESET_B_2', (8.28,6.415), layer=133, texttype=0))
sky130_hilas_scannervert.add(gdstk.Label('RESET_B_1', (17.94,6.4), layer=133, texttype=0))
sky130_hilas_scannervert.add(gdstk.Label('D', (23.605,6.445), layer=133, texttype=0))
sky130_hilas_scannervert.add(gdstk.Label('CLK1', (24.88,6.44), layer=133, texttype=0))
sky130_hilas_scannervert.add(gdstk.Label('GND', (26.57,6.29), layer=133, texttype=0))
sky130_hilas_scannervert.add(gdstk.Label('GND', (26.555,6.43), layer=133, texttype=0))
sky130_hilas_scannervert.add(gdstk.Label('VPWR_DFF', (15.88,6.35), layer=132, texttype=0))
sky130_hilas_scannervert.add(gdstk.Label('VPWR_TGATE', (1.535,6.415), layer=132, texttype=0))
sky130_hilas_scannervert.add(gdstk.Label('Q_out', (16.11,1.92), layer=131, texttype=0))

lib.write_gds('sky130_hilas_ScannerVertical.gds')
